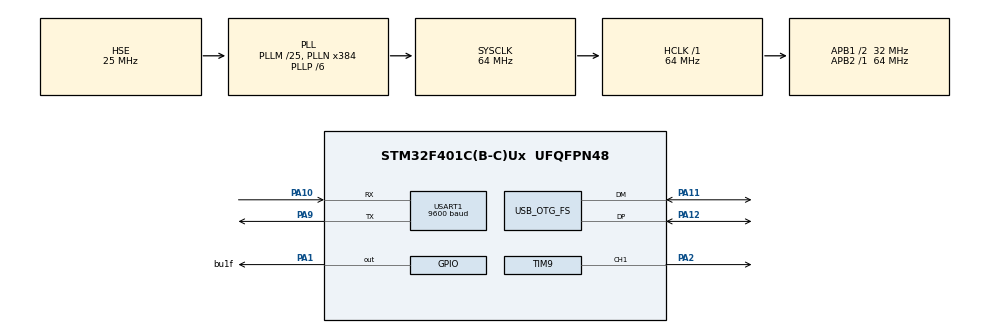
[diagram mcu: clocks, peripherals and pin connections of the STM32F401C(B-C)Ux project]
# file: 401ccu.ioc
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Mcu.Family=STM32F4
Mcu.Name=STM32F401C(B-C)Ux
Mcu.Package=UFQFPN48
NVIC.OTG_FS_IRQn=true\:0\:0\:false\:false\:true\:false\:true\:true
NVIC.PriorityGroup=NVIC_PRIORITYGROUP_4
NVIC.TIM1_BRK_TIM9_IRQn=true\:0\:0\:false\:false\:false\:true\:true\:true
NVIC.TIM1_UP_TIM10_IRQn=true\:0\:0\:false\:false\:false\:true\:true\:true
NVIC.USART1_IRQn=true\:0\:0\:false\:false\:false\:true\:true\:true
PA1.GPIO_Label=bu1f
PA1.Signal=GPIO_Output
PA10.Mode=Asynchronous
PA10.Signal=USART1_RX
PA11.Mode=Device_Only
PA11.Signal=USB_OTG_FS_DM
PA12.Mode=Device_Only
PA12.Signal=USB_OTG_FS_DP
PA13.Mode=Serial_Wire
PA13.Signal=SYS_JTMS-SWDIO
PA14.Mode=Serial_Wire
PA14.Signal=SYS_JTCK-SWCLK
PA2.Signal=S_TIM9_CH1
PA9.Mode=Asynchronous
PA9.Signal=USART1_TX
PH0\ -\ OSC_IN.Mode=HSE-External-Oscillator
PH0\ -\ OSC_IN.Signal=RCC_OSC_IN
PH1\ -\ OSC_OUT.Mode=HSE-External-Oscillator
PH1\ -\ OSC_OUT.Signal=RCC_OSC_OUT
ProjectManager.HeapSize=0x200
ProjectManager.StackSize=0x400
ProjectManager.TargetToolchain=STM32CubeIDE
RCC.48MHZClocksFreq_Value=48000000
RCC.AHBFreq_Value=64000000
RCC.APB1CLKDivider=RCC_HCLK_DIV2
RCC.APB1Freq_Value=32000000
RCC.APB1TimFreq_Value=64000000
RCC.APB2Freq_Value=64000000
RCC.APB2TimFreq_Value=64000000
RCC.CortexFreq_Value=64000000
RCC.HCLKFreq_Value=64000000
RCC.HSE_VALUE=25000000
RCC.HSI_VALUE=16000000
RCC.LSE_VALUE=32768
RCC.PLLM=25
RCC.PLLN=384
RCC.PLLP=RCC_PLLP_DIV6
RCC.PLLQ=8
RCC.SYSCLKFreq_VALUE=64000000
RCC.SYSCLKSource=RCC_SYSCLKSOURCE_PLLCLK
RCC.VCOOutputFreq_Value=384000000
SH.S_TIM9_CH1.0=TIM9_CH1,PWM Generation1 CH1
TIM1.Period=999
TIM1.Prescaler=63
TIM11.Prescaler=63
TIM9.Channel-PWM\ Generation1\ CH1=TIM_CHANNEL_1
TIM9.Prescaler=1
USART1.BaudRate=9600
USART1.VirtualMode=VM_ASYNC
USB_DEVICE.CLASS_NAME_FS=CDC
USB_DEVICE.VirtualMode=Cdc
USB_DEVICE.VirtualModeFS=Cdc_FS
USB_OTG_FS.VirtualMode=Device_Only
VP_TIM11_VS_ClockSourceINT.Mode=Enable_Timer
VP_TIM1_VS_ClockSourceINT.Mode=Internal
VP_USB_DEVICE_VS_USB_DEVICE_CDC_FS.Mode=CDC_FS
board=custom

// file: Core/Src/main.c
/* USER CODE BEGIN Header */
/**
  ******************************************************************************
  * @file           : main.c
  * @brief          : Main program body
  ******************************************************************************
  * @attention
  *
  * Copyright (c) 2023 STMicroelectronics.
  * All rights reserved.
  *
  * This software is licensed under terms that can be found in the LICENSE file
  * in the root directory of this software component.
  * If no LICENSE file comes with this software, it is provided AS-IS.
  *
  ******************************************************************************
  */
/* USER CODE END Header */
#include "main.h"
#include "usb_device.h"

/* USER CODE BEGIN Includes */
#include "math.h"
#include "achuankou.h"
#include "abujindianjipwm.h"
#include "ashuzuchaozuo.h"

uint8_t zi[100],zilen;
__IO uint64_t jici,xitongshijian = 0;
extern uint8_t jieshou1zongchangdu,jieshou1[30],uartdata[10];
extern volatile uint32_t jieshou1changdu,jieshou1tim;
extern bujinpwm dianji[4];
int64_t zhoushijiweizhi[10],zhouyudingweizhi[10],zhouqishiweizhi[10];

//uint8_t uartchar[10],uartlen;
/* USER CODE END Includes */

TIM_HandleTypeDef htim1;
TIM_HandleTypeDef htim9;
TIM_HandleTypeDef htim11;

UART_HandleTypeDef huart1;

void SystemClock_Config(void);
static void MX_GPIO_Init(void);
static void MX_TIM9_Init(void);
static void MX_TIM11_Init(void);
static void MX_USART1_UART_Init(void);
static void MX_TIM1_Init(void);

/* USER CODE BEGIN 0 */

void TIM1_UP_TIM10_IRQHandler(void)
{
  /* USER CODE BEGIN TIM1_UP_TIM10_IRQn 0 */
	xitongshijian++;
	shishisuduyunsuan();
	//duankoupanduan();
	duankou1xunhuan();
  /* USER CODE END TIM1_UP_TIM10_IRQn 0 */
  HAL_TIM_IRQHandler(&htim1);
  /* USER CODE BEGIN TIM1_UP_TIM10_IRQn 1 */

  /* USER CODE END TIM1_UP_TIM10_IRQn 1 */
}
void TIM1_BRK_TIM9_IRQHandler(void)
{
  /* USER CODE BEGIN TIM1_BRK_TIM9_IRQn 0 */

	pwmzhongduankongzhi();
  /* USER CODE END TIM1_BRK_TIM9_IRQn 0 */
  HAL_TIM_IRQHandler(&htim9);
  /* USER CODE BEGIN TIM1_BRK_TIM9_IRQn 1 */

  /* USER CODE END TIM1_BRK_TIM9_IRQn 1 */
}
//--------------------------------------------------------
int64_t jisuanjueduijuli_2x(int64_t a,int64_t b)
{
	return sqrt(a*a + b*b);
}
int64_t jisuanjueduijuli_3x(int64_t a,int64_t b,int64_t c)
{
	return sqrt(a*a + b*b + c*c);
}
int64_t jisuanjueduijuli_6x(int64_t a,int64_t b,int64_t c,int64_t d,int64_t e,int64_t f)
{
	return sqrt(a*a + b*b + c*c + d*d +e*e + f*f);
}
//输出两轴绝对位置
void chabu_2x(int64_t a,int64_t b)
{
	  HAL_TIM_PWM_Stop(&htim9,TIM_CHANNEL_1);
	  dianji[0].dangqianweizhi = 0;
	  zhouqishiweizhi[0] = zhoushijiweizhi[0];
	  zhouqishiweizhi[1] = zhoushijiweizhi[1];
	  zhouyudingweizhi[0] = a;
	  zhouyudingweizhi[1] = b;

	  //dianji[0].zuidasudu = s2b2(500,32000 ,64000);//设置�??????大�?�度
	  chuankoufasong(219,dianji[0].zuidasudu);

	  dianji[0].yudingweizhi = jisuanjueduijuli_2x(zhouqishiweizhi[0] - zhouyudingweizhi[0],zhouqishiweizhi[1] - zhouyudingweizhi[1]);
	  HAL_TIM_PWM_Start_IT(&htim9, TIM_CHANNEL_1);
}
void chabu_3x(int64_t a,int64_t b,int64_t c)
{
	  HAL_TIM_PWM_Stop(&htim9,TIM_CHANNEL_1);
	  dianji[0].dangqianweizhi = 0;
	  zhouqishiweizhi[0] = zhoushijiweizhi[0];
	  zhouqishiweizhi[1] = zhoushijiweizhi[1];
	  zhouqishiweizhi[2] = zhoushijiweizhi[2];
	  zhouyudingweizhi[0] = a;
	  zhouyudingweizhi[1] = b;
	  zhouyudingweizhi[2] = c;

	  //dianji[0].zuidasudu = s2b2(500,32000 ,64000);//设置�??????大�?�度
	  chuankoufasong(219,dianji[0].zuidasudu);

	  dianji[0].yudingweizhi = jisuanjueduijuli_3x(zhouqishiweizhi[0] - zhouyudingweizhi[0],zhouqishiweizhi[1] - zhouyudingweizhi[1],zhouqishiweizhi[2] - zhouyudingweizhi[2]);
	  HAL_TIM_PWM_Start_IT(&htim9, TIM_CHANNEL_1);
}
void chabu_6x(int64_t a,int64_t b,int64_t c,int64_t d,int64_t e,int64_t f)
{
	  HAL_TIM_PWM_Stop(&htim9,TIM_CHANNEL_1);
	  dianji[0].dangqianweizhi = 0;
	  zhouqishiweizhi[0] = zhoushijiweizhi[0];
	  zhouqishiweizhi[1] = zhoushijiweizhi[1];
	  zhouqishiweizhi[2] = zhoushijiweizhi[2];
	  zhouqishiweizhi[3] = zhoushijiweizhi[3];
	  zhouqishiweizhi[4] = zhoushijiweizhi[4];
	  zhouqishiweizhi[5] = zhoushijiweizhi[5];
	  zhouyudingweizhi[0] = a;
	  zhouyudingweizhi[1] = b;
	  zhouyudingweizhi[2] = c;
	  zhouyudingweizhi[3] = d;
	  zhouyudingweizhi[4] = e;
	  zhouyudingweizhi[5] = f;

	  //dianji[0].zuidasudu = s2b2(500,32000 ,64000);//设置�??????大�?�度
	  chuankoufasong(219,dianji[0].zuidasudu);

	  dianji[0].yudingweizhi = jisuanjueduijuli_6x(zhouqishiweizhi[0] - zhouyudingweizhi[0],zhouqishiweizhi[1] - zhouyudingweizhi[1],zhouqishiweizhi[2] - zhouyudingweizhi[2],zhouqishiweizhi[3] - zhouyudingweizhi[3],zhouqishiweizhi[4] - zhouyudingweizhi[4],zhouqishiweizhi[5] - zhouyudingweizhi[5]);
	  HAL_TIM_PWM_Start_IT(&htim9, TIM_CHANNEL_1);
}
void gengxinshijiweizhi_2x(void)
{
	zhoushijiweizhi[0] = zhouqishiweizhi[0]+(zhouyudingweizhi[0] - zhouqishiweizhi[0])*dianji[0].dangqianweizhi/dianji[0].yudingweizhi;
	zhoushijiweizhi[1] = zhouqishiweizhi[1]+(zhouyudingweizhi[1] - zhouqishiweizhi[1])*dianji[0].dangqianweizhi/dianji[0].yudingweizhi;
//	zhoushijiweizhi[2] = zhouqishiweizhi[2]+(zhouyudingweizhi[2] - zhouqishiweizhi[2])*dianji[0].dangqianweizhi/dianji[0].yudingweizhi;
}
void gengxinshijiweizhi_3x(void)
{
	zhoushijiweizhi[0] = zhouqishiweizhi[0]+(zhouyudingweizhi[0] - zhouqishiweizhi[0])*dianji[0].dangqianweizhi/dianji[0].yudingweizhi;
	zhoushijiweizhi[1] = zhouqishiweizhi[1]+(zhouyudingweizhi[1] - zhouqishiweizhi[1])*dianji[0].dangqianweizhi/dianji[0].yudingweizhi;
	zhoushijiweizhi[2] = zhouqishiweizhi[2]+(zhouyudingweizhi[2] - zhouqishiweizhi[2])*dianji[0].dangqianweizhi/dianji[0].yudingweizhi;
}
void gengxinshijiweizhi_6x(void)
{
	zhoushijiweizhi[0] = zhouqishiweizhi[0]+(zhouyudingweizhi[0] - zhouqishiweizhi[0])*dianji[0].dangqianweizhi/dianji[0].yudingweizhi;
	zhoushijiweizhi[1] = zhouqishiweizhi[1]+(zhouyudingweizhi[1] - zhouqishiweizhi[1])*dianji[0].dangqianweizhi/dianji[0].yudingweizhi;
	zhoushijiweizhi[2] = zhouqishiweizhi[2]+(zhouyudingweizhi[2] - zhouqishiweizhi[2])*dianji[0].dangqianweizhi/dianji[0].yudingweizhi;
	zhoushijiweizhi[3] = zhouqishiweizhi[3]+(zhouyudingweizhi[3] - zhouqishiweizhi[3])*dianji[0].dangqianweizhi/dianji[0].yudingweizhi;
	zhoushijiweizhi[4] = zhouqishiweizhi[4]+(zhouyudingweizhi[4] - zhouqishiweizhi[4])*dianji[0].dangqianweizhi/dianji[0].yudingweizhi;
	zhoushijiweizhi[5] = zhouqishiweizhi[5]+(zhouyudingweizhi[5] - zhouqishiweizhi[5])*dianji[0].dangqianweizhi/dianji[0].yudingweizhi;
}
//--------------------------------------------------------
void fs(uint8_t tou,double num)
{
	zilen = ftoa(num , (char*)&zi[1] , 0 );
	  zi[0] =tou;
	  zi[zilen+1] = 200;
	  zilen++;
	  CDC_Transmit_FS(zi, zilen+1);
}

/* USER CODE END 0 */

int main(void)
{

  /* MCU Configuration--------------------------------------------------------*/

  /* Reset of all peripherals, Initializes the Flash interface and the Systick. */
  HAL_Init();

  /* Configure the system clock */
  SystemClock_Config();

  /* Initialize all configured peripherals */
  MX_GPIO_Init();
  MX_TIM9_Init();
  MX_TIM11_Init();
  MX_USB_DEVICE_Init();
  MX_USART1_UART_Init();
  MX_TIM1_Init();

  /* Infinite loop */
  /* USER CODE BEGIN WHILE */
  HAL_UART_Receive_IT(&huart1, uartdata, 1);
  //__HAL_UART_ENABLE_IT(&huart1, UART_IT_RXNE);
  HAL_TIM_Base_Start_IT(&htim1);
  HAL_TIM_PWM_Start_IT(&htim9, TIM_CHANNEL_1);

  dianji[0].zuidasudu = s2b2(500,8000 ,16000);//设置�??????大�?�度
  zhoushijiweizhi[0] = 0;
  zhoushijiweizhi[1] = 0;
  zhoushijiweizhi[2] = 0;
  zhoushijiweizhi[3] = 0;
  zhoushijiweizhi[4] = 0;
  zhoushijiweizhi[5] = 0;
  chabu_6x(5000,-2000,30000,123000,-88653,9);
  HAL_Delay(1000);
  while (zhoushijiweizhi[1] != zhouyudingweizhi[1])
  {
	  jici++;
	  fs(201,(double)jici);HAL_Delay(10);
	  fs(202,(double)dianji[0].dangqianweizhi);HAL_Delay(10);
	  fs(203,(double)dianji[0].dangqiansudu);HAL_Delay(10);

	  gengxinshijiweizhi_6x();
	  	fs(204,(double)zhoushijiweizhi[0]);HAL_Delay(1);
		fs(205,(double)zhoushijiweizhi[1]);HAL_Delay(1);
		fs(206,(double)zhoushijiweizhi[2]); HAL_Delay(1);
	  	fs(207,(double)zhoushijiweizhi[3]);HAL_Delay(1);
		fs(208,(double)zhoushijiweizhi[4]);HAL_Delay(1);
		fs(209,(double)zhoushijiweizhi[5]); HAL_Delay(1);
    /* USER CODE END WHILE */

    /* USER CODE BEGIN 3 */
  }

  chabu_6x(100,200,500,1000,50000,-5000);
  HAL_Delay(1000);
  while (1)
  {
	  jici++;
	  fs(201,(double)jici);HAL_Delay(1);
	  fs(202,(double)dianji[0].dangqianweizhi);HAL_Delay(1);
	  fs(203,(double)dianji[0].dangqiansudu);HAL_Delay(1);
	  gengxinshijiweizhi_6x();
	  	fs(204,(double)zhoushijiweizhi[0]);HAL_Delay(1);
		fs(205,(double)zhoushijiweizhi[1]);HAL_Delay(1);
		fs(206,(double)zhoushijiweizhi[2]); HAL_Delay(1);
	  	fs(207,(double)zhoushijiweizhi[3]);HAL_Delay(1);
		fs(208,(double)zhoushijiweizhi[4]);HAL_Delay(1);
		fs(209,(double)zhoushijiweizhi[5]); HAL_Delay(1);
    /* USER CODE END WHILE */

    /* USER CODE BEGIN 3 */
  }
  /* USER CODE END 3 */
}

void SystemClock_Config(void)
{
  RCC_OscInitTypeDef RCC_OscInitStruct = {0};
  RCC_ClkInitTypeDef RCC_ClkInitStruct = {0};

  /** Configure the main internal regulator output voltage
  */
  __HAL_RCC_PWR_CLK_ENABLE();
  __HAL_PWR_VOLTAGESCALING_CONFIG(PWR_REGULATOR_VOLTAGE_SCALE2);

  /** Initializes the RCC Oscillators according to the specified parameters
  * in the RCC_OscInitTypeDef structure.
  */
  RCC_OscInitStruct.OscillatorType = RCC_OSCILLATORTYPE_HSE;
  RCC_OscInitStruct.HSEState = RCC_HSE_ON;
  RCC_OscInitStruct.PLL.PLLState = RCC_PLL_ON;
  RCC_OscInitStruct.PLL.PLLSource = RCC_PLLSOURCE_HSE;
  RCC_OscInitStruct.PLL.PLLM = 25;
  RCC_OscInitStruct.PLL.PLLN = 384;
  RCC_OscInitStruct.PLL.PLLP = RCC_PLLP_DIV6;
  RCC_OscInitStruct.PLL.PLLQ = 8;
  if (HAL_RCC_OscConfig(&RCC_OscInitStruct) != HAL_OK)
  {
    Error_Handler();
  }

  /** Initializes the CPU, AHB and APB buses clocks
  */
  RCC_ClkInitStruct.ClockType = RCC_CLOCKTYPE_HCLK|RCC_CLOCKTYPE_SYSCLK
                              |RCC_CLOCKTYPE_PCLK1|RCC_CLOCKTYPE_PCLK2;
  RCC_ClkInitStruct.SYSCLKSource = RCC_SYSCLKSOURCE_PLLCLK;
  RCC_ClkInitStruct.AHBCLKDivider = RCC_SYSCLK_DIV1;
  RCC_ClkInitStruct.APB1CLKDivider = RCC_HCLK_DIV2;
  RCC_ClkInitStruct.APB2CLKDivider = RCC_HCLK_DIV1;

  if (HAL_RCC_ClockConfig(&RCC_ClkInitStruct, FLASH_LATENCY_2) != HAL_OK)
  {
    Error_Handler();
  }
}

static void MX_TIM1_Init(void)
{

  TIM_ClockConfigTypeDef sClockSourceConfig = {0};
  TIM_MasterConfigTypeDef sMasterConfig = {0};

  htim1.Instance = TIM1;
  htim1.Init.Prescaler = 63;
  htim1.Init.CounterMode = TIM_COUNTERMODE_UP;
  htim1.Init.Period = 999;
  htim1.Init.ClockDivision = TIM_CLOCKDIVISION_DIV1;
  htim1.Init.RepetitionCounter = 0;
  htim1.Init.AutoReloadPreload = TIM_AUTORELOAD_PRELOAD_DISABLE;
  if (HAL_TIM_Base_Init(&htim1) != HAL_OK)
  {
    Error_Handler();
  }
  sClockSourceConfig.ClockSource = TIM_CLOCKSOURCE_INTERNAL;
  if (HAL_TIM_ConfigClockSource(&htim1, &sClockSourceConfig) != HAL_OK)
  {
    Error_Handler();
  }
  sMasterConfig.MasterOutputTrigger = TIM_TRGO_RESET;
  sMasterConfig.MasterSlaveMode = TIM_MASTERSLAVEMODE_DISABLE;
  if (HAL_TIMEx_MasterConfigSynchronization(&htim1, &sMasterConfig) != HAL_OK)
  {
    Error_Handler();
  }

}

static void MX_TIM9_Init(void)
{

  TIM_OC_InitTypeDef sConfigOC = {0};

  htim9.Instance = TIM9;
  htim9.Init.Prescaler = 1;
  htim9.Init.CounterMode = TIM_COUNTERMODE_UP;
  htim9.Init.Period = 65535;
  htim9.Init.ClockDivision = TIM_CLOCKDIVISION_DIV1;
  htim9.Init.AutoReloadPreload = TIM_AUTORELOAD_PRELOAD_DISABLE;
  if (HAL_TIM_PWM_Init(&htim9) != HAL_OK)
  {
    Error_Handler();
  }
  sConfigOC.OCMode = TIM_OCMODE_PWM1;
  sConfigOC.Pulse = 0;
  sConfigOC.OCPolarity = TIM_OCPOLARITY_HIGH;
  sConfigOC.OCFastMode = TIM_OCFAST_DISABLE;
  if (HAL_TIM_PWM_ConfigChannel(&htim9, &sConfigOC, TIM_CHANNEL_1) != HAL_OK)
  {
    Error_Handler();
  }
  HAL_TIM_MspPostInit(&htim9);

}

static void MX_TIM11_Init(void)
{

  htim11.Instance = TIM11;
  htim11.Init.Prescaler = 63;
  htim11.Init.CounterMode = TIM_COUNTERMODE_UP;
  htim11.Init.Period = 65535;
  htim11.Init.ClockDivision = TIM_CLOCKDIVISION_DIV1;
  htim11.Init.AutoReloadPreload = TIM_AUTORELOAD_PRELOAD_DISABLE;
  if (HAL_TIM_Base_Init(&htim11) != HAL_OK)
  {
    Error_Handler();
  }

}

static void MX_USART1_UART_Init(void)
{

  huart1.Instance = USART1;
  huart1.Init.BaudRate = 9600;
  huart1.Init.WordLength = UART_WORDLENGTH_8B;
  huart1.Init.StopBits = UART_STOPBITS_1;
  huart1.Init.Parity = UART_PARITY_NONE;
  huart1.Init.Mode = UART_MODE_TX_RX;
  huart1.Init.HwFlowCtl = UART_HWCONTROL_NONE;
  huart1.Init.OverSampling = UART_OVERSAMPLING_16;
  if (HAL_UART_Init(&huart1) != HAL_OK)
  {
    Error_Handler();
  }

}

static void MX_GPIO_Init(void)
{
  GPIO_InitTypeDef GPIO_InitStruct = {0};

  /* GPIO Ports Clock Enable */
  __HAL_RCC_GPIOH_CLK_ENABLE();
  __HAL_RCC_GPIOA_CLK_ENABLE();

  /*Configure GPIO pin Output Level */
  HAL_GPIO_WritePin(bu1f_GPIO_Port, bu1f_Pin, GPIO_PIN_RESET);

  /*Configure GPIO pin : bu1f_Pin */
  GPIO_InitStruct.Pin = bu1f_Pin;
  GPIO_InitStruct.Mode = GPIO_MODE_OUTPUT_PP;
  GPIO_InitStruct.Pull = GPIO_NOPULL;
  GPIO_InitStruct.Speed = GPIO_SPEED_FREQ_LOW;
  HAL_GPIO_Init(bu1f_GPIO_Port, &GPIO_InitStruct);

}

void Error_Handler(void)
{
  __disable_irq();
  while (1)
  {
  }
}
